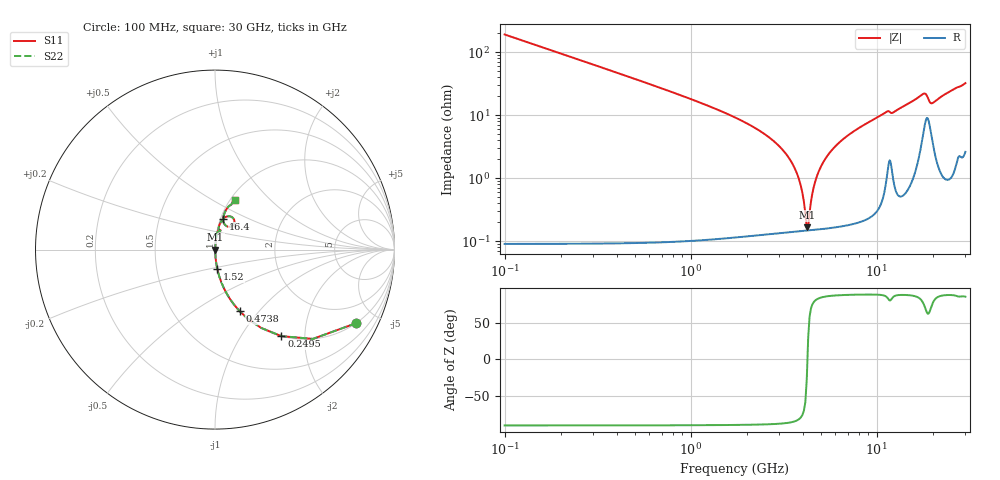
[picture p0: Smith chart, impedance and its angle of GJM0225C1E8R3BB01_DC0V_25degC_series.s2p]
!Murata Part Number: GJM0225C1E8R3BB01
!These Parameters are Measured in Series Mode Connection
!  o--ll--o
!Port1  Port2
!  o------o
!Operation Temp=25[degC], DC Bias Voltage=0[V]
!Freq. Start=100[MHz] Stop=30[GHz], 401[Steps]
!Data Generated on Feb 1, 2023
# Hz S RI R 50
!Freq.(Hz) S11(Real) S11(Imag) S21(Real) S21(Imag) S12(Real) S12(Imag) S22(Real) S22(Imag)
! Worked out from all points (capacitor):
!   401 points, 100 MHz to 30 GHz, reference 50 ohm
!   read as one part in series: C = 8.3 pF near 249.5 MHz
!   lowest |Z| = 164 mohm at 4.211 GHz (marker M1)
!   series resonance near 4.246 GHz, so ESL is about 170 pH
!   S11 on the Smith chart (normalised r, x): 100 MHz: 1.00, -3.83; 249.5 MHz: 1.00, -1.53; 473.8 MHz: 1.00, -0.80; 1.52 GHz: 1.00, -0.22; 16.4 GHz: 1.03, +0.37; 30 GHz: 1.05, +0.64
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1e8  0.7859 -0.41  0.2141 0.41  0.2141 0.41  0.7859 -0.41
2.495e8  0.3698 -0.4822  0.6302 0.4822  0.6302 0.4822  0.3698 -0.4822
4.7375e8  0.1383 -0.3441  0.8617 0.3441  0.8617 0.3441  0.1383 -0.3441
8.475e8  0.0459 -0.207  0.9541 0.207  0.9541 0.207  0.0459 -0.207
1.52025e9  0.013 -0.1083  0.987 0.1083  0.987 0.1083  0.013 -0.1083
2.791e9  0.00281 -0.0388  0.9972 0.0388  0.9972 0.0388  0.00281 -0.0388
3.46375e9  0.00172 -0.0185  0.9983 0.0185  0.9983 0.0185  0.00172 -0.0185
3.8375e9  0.00151 -0.00913  0.9985 0.00913  0.9985 0.00913  0.00151 -0.00913
4.21125e9  0.00146 -0.000746  0.9985 0.000746  0.9985 0.000746  0.00146 -0.000746
4.36075e9  0.00148 0.0024  0.9985 -0.0024  0.9985 -0.0024  0.00148 0.0024
4.585e9  0.00155 0.00693  0.9985 -0.00693  0.9985 -0.00693  0.00155 0.00693
4.7345e9  0.00161 0.00984  0.9984 -0.00984  0.9984 -0.00984  0.00161 0.00984
5.10825e9  0.00183 0.0168  0.9982 -0.0168  0.9982 -0.0168  0.00183 0.0168
5.781e9  0.00243 0.0283  0.9976 -0.0283  0.9976 -0.0283  0.00243 0.0283
6.8275e9  0.00376 0.0447  0.9962 -0.0447  0.9962 -0.0447  0.00376 0.0447
1.01165e10  0.0115 0.0915  0.9885 -0.0915  0.9885 -0.0915  0.0115 0.0915
1.505e10  0.0308 0.1511  0.9692 -0.1511  0.9692 -0.1511  0.0308 0.1511
1.63955e10  0.0458 0.1722  0.9542 -0.1722  0.9542 -0.1722  0.0458 0.1722
1.804e10  0.0958 0.1799  0.9042 -0.1799  0.9042 -0.1799  0.0958 0.1799
2.005825e10  0.0544 0.1397  0.9456 -0.1397  0.9456 -0.1397  0.0544 0.1397
2.50665e10  0.0643 0.2255  0.9357 -0.2255  0.9357 -0.2255  0.0643 0.2255
3e10  0.1128 0.2784  0.8872 -0.2784  0.8872 -0.2784  0.1128 0.2784
